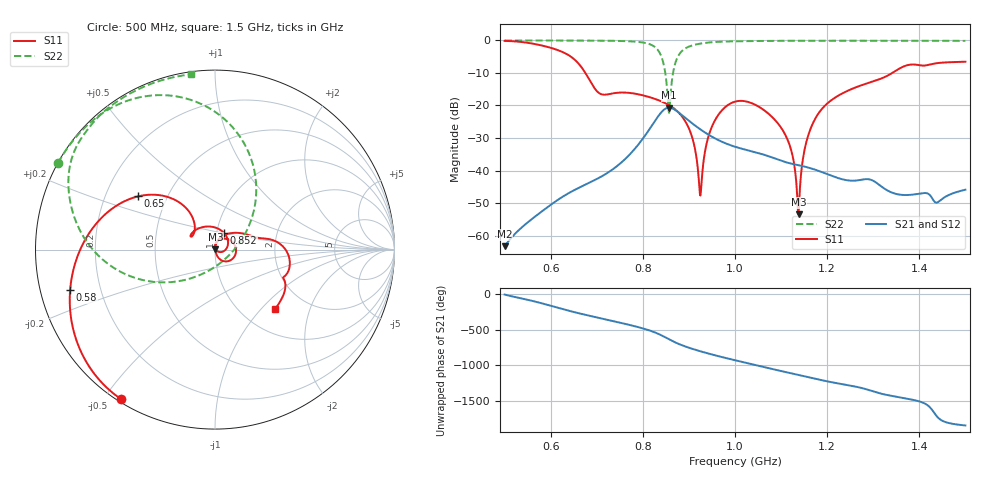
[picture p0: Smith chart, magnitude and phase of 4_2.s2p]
! TOUCHSTONE file generated by CST MICROWAVE STUDIO
! Date and time: Wed Oct 28 19:33:55 2020
! Project name: Scenario_1_Circular_Tissue_out_of_Line_v2.cst
! Parameters = {dy1=-294.1; L_HA=400; MT=2.54; Rad_Dielectric=30; Rad_Lower=7.3; Rad_Upper=30; a_HA=580; a_WG=246; b_HA=500; b_WG=121; c_HA=0; c_WG=187; d_feed=85; dx1=346; h_feed=15; h_lower=18; h_upper=40}
! Header version: 2018
! Port assignment regex: !\s*Touchstone port\s*([0-9]+)\s*=\s*(CST MWS port|CST DS port)\s*([0-9]+|Zmin|Zmax)\s*\(\"(.*)\"\)(\s*mode\s*([0-9]+))?.*
! Touchstone port assignment:
! Touchstone port 1 = CST MWS port 1 ("")
! Touchstone port 2 = CST MWS port 2 ("")
# GHz S DB R 50
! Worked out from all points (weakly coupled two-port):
!   1003 points, 500 MHz to 1.5 GHz, reference 50 ohm
!   highest |S21| = -20.67 dB at 857 MHz (marker M1); lowest = -63.3 dB at 500 MHz (marker M2)
!   lowest |S11| = -53.4 dB at 1.138 GHz (marker M3), VSWR 1.00, Z = 50.2 + j0.0807 ohm
!   |S11| at or under -10 dB: 675.2 MHz to 1.341 GHz (666.1 MHz wide, 66.1 % of centre)
!   |S22| runs from -22.3 to 0.0 dB; largest |S21 - S12| = 1.6e-05
!   S11 on the Smith chart (normalised r, x): 500 MHz: 0.01, -0.55; 580 MHz: 0.09, -0.14; 650 MHz: 0.34, +0.28; 852 MHz: 1.08, +0.20; 1.5 GHz: 1.41, -1.20
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0.5  -0.14 -122.3  -63.27 -5.2  -63.27 -5.2  -0.01 151.1
0.58  -1.54 -164.4  -52.67 -127.2  -52.67 -127.2  -0.02 145.6
0.65  -5.67 145.3  -46.12 109.4  -46.12 109.4  -0.03 139.9
0.667  -8.27 131.2  -44.92 82.3  -44.92 82.3  -0.04 138.4
0.708  -16.44 140.0  -42.02 21.6  -42.02 21.6  -0.07 133.9
0.78  -16.31 133.6  -33.75 -86.6  -33.75 -86.6  -0.34 120.3
0.834  -18.38 85.4  -23.18 160.8  -23.18 160.8  -3.23 81.9
0.852  -19.53 62.0  -20.79 101.9  -20.79 101.9  -13.97 29.8
0.857  -19.92 54.7  -20.67 84.6  -20.67 84.6  -22.27 -55.4
0.878  -22.23 21.4  -22.18 19.9  -22.18 19.9  -4.49 -172.0
0.906  -29.34 -24.0  -25.38 -45.7  -25.38 -45.7  -1.59 163.7
0.925  -47.71 36.8  -27.37 -83.3  -27.37 -83.3  -0.97 156.0
0.95  -26.48 74.3  -29.61 -128.3  -29.61 -128.3  -0.55 149.0
1  -18.82 8.9  -32.69 151.0  -32.69 151.0  -0.27 140.1
1.1  -26.84 -68.6  -36.99 -0.8  -36.99 -0.8  -0.12 129.7
1.122  -33.79 -73.9  -37.88 -31.9  -37.88 -31.9  -0.11 127.8
1.138  -53.44 22.2  -38.38 -55.1  -38.38 -55.1  -0.10 126.5
1.151  -33.58 81.5  -38.80 -74.6  -38.80 -74.6  -0.10 125.4
1.167  -26.12 74.2  -39.43 -98.8  -39.43 -98.8  -0.10 124.2
1.216  -17.70 45.0  -41.96 -166.0  -41.96 -166.0  -0.09 120.4
1.334  -10.60 11.8  -46.38 17.2  -46.38 17.2  -0.09 111.5
1.5  -6.54 -44.5  -45.90 -46.1  -45.92 -46.0  -0.13 97.9
